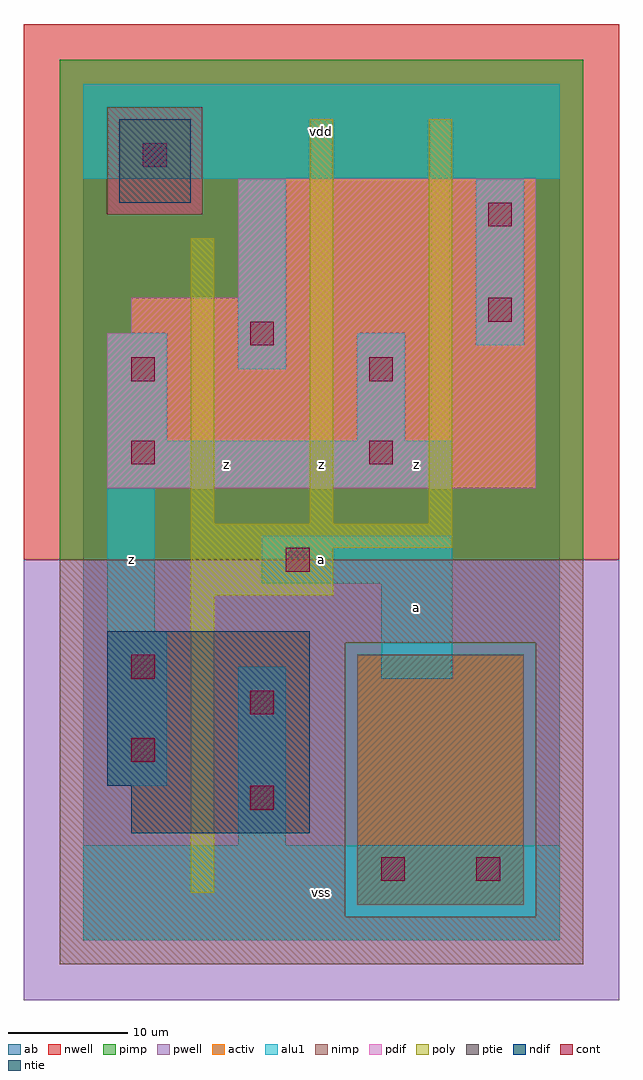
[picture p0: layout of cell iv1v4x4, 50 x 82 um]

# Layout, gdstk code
import gdstk
lib = gdstk.Library(unit=1e-6, precision=1e-09)
def R(c, l, rs):  # rectangles x0, y0, x1, y1
    for r in rs: c.add(gdstk.rectangle(r[:2], r[2:], *l))
ndif = (3, 0)
pdif = (4, 0)
ntie = (5, 0)
ptie = (6, 0)
cont = (25, 0)
pwell = (41, 0)
nwell = (42, 0)
activ = (43, 0)
pimp = (44, 0)
nimp = (45, 0)
poly = (46, 0)
alu1 = (49, 0)
ab = (63, 0)

iv1v4x4 = lib.new_cell('iv1v4x4')
R(iv1v4x4, ndif, [(4,9,19,13), (2,13,19,26)])
R(iv1v4x4, pdif, [(2,38,38,51), (4,51,38,54), (13,54,38,64)])
R(iv1v4x4, ntie, [(3,62,9,69)])
R(iv1v4x4, ptie, [(23,3,37,24)])
R(iv1v4x4, cont, [(25,5,27,7), (33,5,35,7), (14,11,16,13), (4,15,6,17), (14,19,16,21), (4,22,6,24), (17,31,19,33), (4,40,6,42), (24,40,26,42), (4,47,6,49), (24,47,26,49), (14,50,16,52), (34,52,36,54), (34,60,36,62), (5,65,7,67)])
R(iv1v4x4, pwell, [(-5,-5,45,32)])
R(iv1v4x4, nwell, [(-5,32,45,77)])
R(iv1v4x4, activ, [(23,3,37,24), (4,9,19,13), (2,13,19,26), (2,38,38,51), (4,51,38,54), (13,54,38,64), (3,62,9,69)])
R(iv1v4x4, pimp, [(22,2,38,25), (-2,32,42,61), (-2,61,2,70), (10,61,42,70), (-2,70,42,74)])
R(iv1v4x4, nimp, [(-2,-2,42,2), (-2,2,22,25), (38,2,42,25), (-2,25,42,32), (2,61,10,70)])
R(iv1v4x4, poly, [(9,4,11,29), (9,29,21,33), (9,33,31,35), (9,35,11,59), (19,35,21,69), (29,35,31,69)])
R(iv1v4x4, alu1, [(0,0,40,8), (13,8,17,23), (2,13,7,26), (25,22,31,30), (2,26,6,38), (15,30,31,34), (2,38,31,42), (2,42,7,51), (23,42,27,51), (13,48,17,64), (33,50,37,64), (0,64,40,72)])
R(iv1v4x4, ab, [(0,0,40,72)])
iv1v4x4.add(gdstk.Label('z', (4,32), layer=49, texttype=0))
iv1v4x4.add(gdstk.Label('z', (12,40), layer=49, texttype=0))
iv1v4x4.add(gdstk.Label('vss', (20,4), layer=49, texttype=0))
iv1v4x4.add(gdstk.Label('a', (20,32), layer=49, texttype=0))
iv1v4x4.add(gdstk.Label('a', (28,28), layer=49, texttype=0))
iv1v4x4.add(gdstk.Label('z', (28,40), layer=49, texttype=0))
iv1v4x4.add(gdstk.Label('z', (20,40), layer=49, texttype=0))
iv1v4x4.add(gdstk.Label('vdd', (20,68), layer=49, texttype=0))

lib.write_gds('iv1v4x4.gds')
